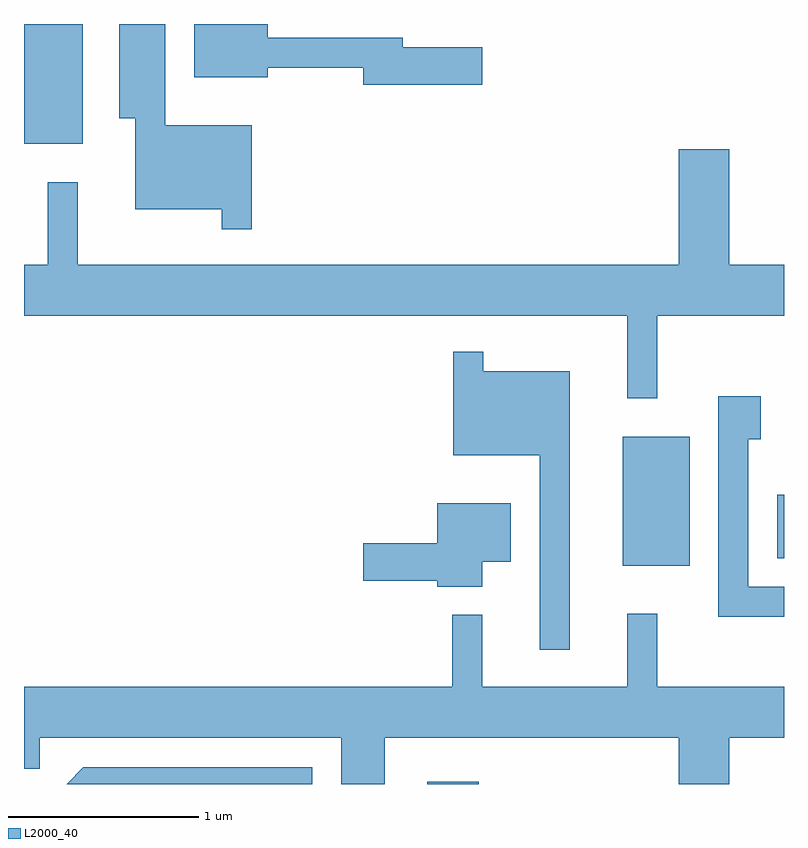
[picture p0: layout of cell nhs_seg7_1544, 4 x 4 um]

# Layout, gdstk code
import gdstk
lib = gdstk.Library(unit=1e-6, precision=1e-09)
def R(c, l, rs):  # rectangles x0, y0, x1, y1
    for r in rs: c.add(gdstk.rectangle(r[:2], r[2:], *l))
def P(c, l, *ps):  # polygons
    for p in ps: c.add(gdstk.Polygon(p, *l))
L2000_40 = (2000, 40)

nhs_seg7_1544 = lib.new_cell('nhs_seg7_1544')
R(nhs_seg7_1544, L2000_40, [(233.733,1756.252,234.004,1756.264), (234.761,1757.401,235.114,1758.079), (235.576,1757.441,235.611,1757.774), (231.611,1759.621,231.919,1760.252)])
P(nhs_seg7_1544, L2000_40, [(232.809,1759.719),(232.354,1759.719),(232.354,1760.252),(232.111,1760.252),(232.111,1759.756),(232.196,1759.756),(232.196,1759.276),(232.651,1759.276),(232.651,1759.173),(232.809,1759.173)],
  [(234.024,1760.129),(233.604,1760.129),(233.604,1760.179),(232.894,1760.179),(232.894,1760.252),(232.506,1760.252),(232.506,1759.971),(232.894,1759.971),(232.894,1760.021),(233.396,1760.021),(233.396,1759.931),(234.024,1759.931)],
  [(231.736,1759.418),(231.736,1758.984),(231.611,1758.984),(231.611,1758.716),(234.786,1758.716),(234.786,1758.283),(234.944,1758.283),(234.944,1758.716),(235.611,1758.716),(235.611,1758.984),(235.324,1758.984),(235.324,1759.594),(235.056,1759.594),(235.056,1758.984),(231.894,1758.984),(231.894,1759.418)],
  [(234.484,1758.424),(234.029,1758.424),(234.029,1758.528),(233.871,1758.528),(233.871,1757.981),(234.326,1757.981),(234.326,1756.958),(234.484,1756.958)],
  [(235.611,1757.289),(235.424,1757.289),(235.424,1758.066),(235.489,1758.066),(235.489,1758.294),(235.266,1758.294),(235.266,1757.131),(235.611,1757.131)],
  [(234.024,1757.421),(234.174,1757.421),(234.174,1757.729),(233.786,1757.729),(233.786,1757.519),(233.396,1757.519),(233.396,1757.321),(233.786,1757.321),(233.786,1757.291),(234.024,1757.291)],
  [(233.509,1756.496),(235.056,1756.496),(235.056,1756.252),(235.324,1756.252),(235.324,1756.496),(235.611,1756.496),(235.611,1756.764),(234.944,1756.764),(234.944,1757.148),(234.786,1757.148),(234.786,1756.764),(234.024,1756.764),(234.024,1757.143),(233.866,1757.143),(233.866,1756.764),(231.611,1756.764),(231.611,1756.331),(231.694,1756.331),(231.694,1756.496),(233.281,1756.496),(233.281,1756.252),(233.509,1756.252)],
  [(233.129,1756.339),(231.924,1756.339),(231.837,1756.252),(233.129,1756.252)])

lib.write_gds('nhs_seg7_1544.gds')
